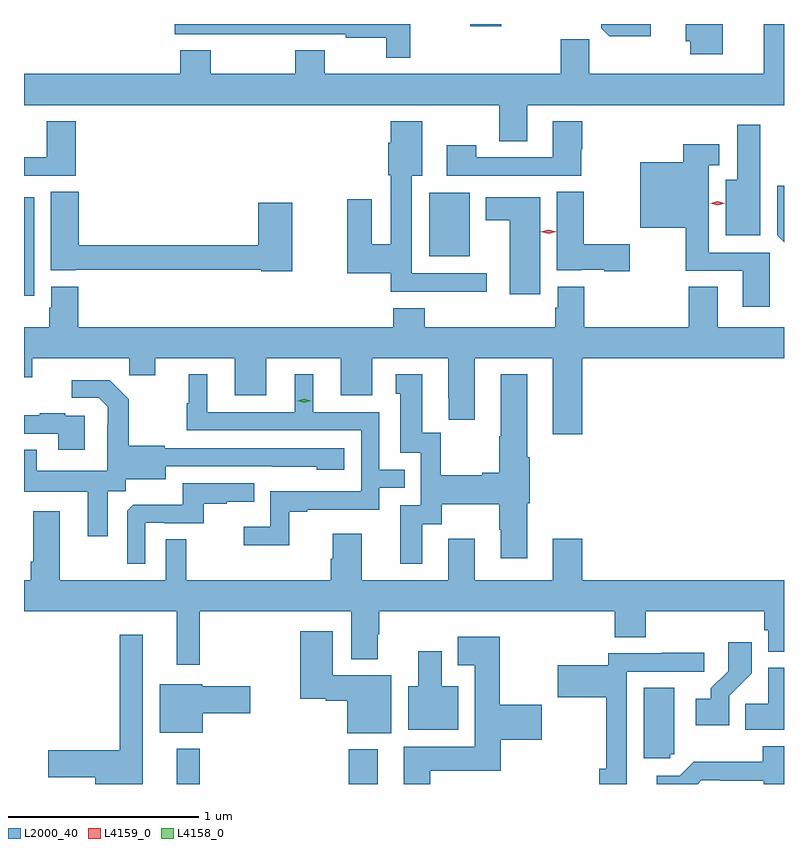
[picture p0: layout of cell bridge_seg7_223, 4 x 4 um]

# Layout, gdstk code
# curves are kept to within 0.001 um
import gdstk
lib = gdstk.Library(unit=1e-6, precision=1e-09)
def R(c, l, rs):  # rectangles x0, y0, x1, y1
    for r in rs: c.add(gdstk.rectangle(r[:2], r[2:], *l))
def P(c, l, *ps):  # polygons
    for p in ps: c.add(gdstk.Polygon(p, *l))
L2000_40 = (2000, 40)
L4158_0 = (4158, 0)
L4159_0 = (4159, 0)

bridge_seg7_223 = lib.new_cell('bridge_seg7_223')
R(bridge_seg7_223, L2000_40, [(349.163,1002.371,349.285,1002.556), (350.069,1002.371,350.221,1002.553), (348.359,1004.94,348.412,1005.46), (350.492,1005.149,350.704,1005.484), (350.707,1006.359,350.872,1006.371)])
P(bridge_seg7_223, L2000_40, [(351.658,1006.371),(351.398,1006.371),(351.398,1006.348),(351.439,1006.307),(351.658,1006.307)],
  [(352.036,1006.371),(351.842,1006.371),(351.842,1006.28),(351.866,1006.28),(351.866,1006.212),(352.036,1006.212)],
  [(351.007,1005.944),(352.359,1005.944),(352.359,1006.371),(352.253,1006.371),(352.253,1006.108),(351.335,1006.108),(351.335,1006.29),(351.185,1006.29),(351.185,1006.108),(349.941,1006.108),(349.941,1006.232),(349.786,1006.232),(349.786,1006.108),(349.341,1006.108),(349.341,1006.232),(349.181,1006.232),(349.181,1006.108),(348.359,1006.108),(348.359,1005.944),(350.86,1005.944),(350.86,1005.754),(351.007,1005.754)],
  [(350.393,1006.371),(349.153,1006.371),(349.153,1006.317),(349.403,1006.317),(349.403,1006.316),(349.635,1006.316),(349.635,1006.317),(350.052,1006.317),(350.052,1006.298),(350.265,1006.298),(350.265,1006.193),(350.393,1006.193)],
  [(351.291,1005.711),(351.296,1005.711),(351.296,1005.859),(351.143,1005.859),(351.143,1005.669),(350.739,1005.669),(350.739,1005.733),(350.583,1005.733),(350.583,1005.573),(351.291,1005.573)],
  [(350.794,1005.06),(350.401,1005.06),(350.401,1005.572),(350.455,1005.572),(350.455,1005.859),(350.288,1005.859),(350.288,1005.746),(350.276,1005.746),(350.276,1005.576),(350.288,1005.576),(350.288,1005.212),(350.188,1005.212),(350.188,1005.448),(350.059,1005.448),(350.059,1005.059),(350.288,1005.059),(350.288,1004.963),(350.794,1004.963)],
  [(348.632,1005.859),(348.479,1005.859),(348.479,1005.669),(348.359,1005.669),(348.359,1005.573),(348.632,1005.573)],
  [(352.234,1005.841),(352.112,1005.841),(352.112,1005.55),(352.052,1005.55),(352.052,1005.26),(352.234,1005.26)],
  [(352.285,1005.168),(351.964,1005.168),(351.964,1005.627),(352.018,1005.627),(352.018,1005.737),(351.83,1005.737),(351.83,1005.643),(351.602,1005.643),(351.602,1005.299),(351.842,1005.299),(351.842,1005.072),(352.142,1005.072),(352.142,1004.883),(352.285,1004.883)],
  [(352.359,1005.52),(352.323,1005.52),(352.323,1005.258),(352.359,1005.222)],
  [(351.547,1005.212),(351.306,1005.212),(351.306,1005.488),(351.164,1005.488),(351.164,1005.074),(351.294,1005.074),(351.294,1005.077),(351.414,1005.077),(351.414,1005.07),(351.547,1005.07)],
  [(349.77,1005.43),(349.592,1005.43),(349.592,1005.206),(348.647,1005.206),(348.647,1005.488),(348.5,1005.488),(348.5,1005.074),(348.63,1005.074),(348.63,1005.078),(349.608,1005.078),(349.608,1005.07),(349.77,1005.07)],
  [(351.076,1005.46),(350.789,1005.46),(350.789,1005.338),(350.915,1005.338),(350.915,1004.948),(351.076,1004.948)],
  [(350.468,1004.875),(350.303,1004.875),(350.303,1004.776),(348.644,1004.776),(348.644,1004.989),(348.503,1004.989),(348.503,1004.877),(348.491,1004.877),(348.491,1004.776),(348.359,1004.776),(348.359,1004.513),(348.403,1004.513),(348.403,1004.612),(348.913,1004.612),(348.913,1004.522),(349.051,1004.522),(349.051,1004.612),(349.469,1004.612),(349.469,1004.418),(349.633,1004.418),(349.633,1004.612),(350.027,1004.612),(350.027,1004.418),(350.191,1004.418),(350.191,1004.612),(350.591,1004.612),(350.591,1004.401),(350.594,1004.401),(350.594,1004.289),(350.731,1004.289),(350.731,1004.612),(351.143,1004.612),(351.143,1004.211),(351.296,1004.211),(351.296,1004.612),(352.359,1004.612),(352.359,1004.776),(352.009,1004.776),(352.009,1004.987),(351.857,1004.987),(351.857,1004.776),(351.308,1004.776),(351.308,1004.989),(351.167,1004.989),(351.167,1004.877),(351.155,1004.877),(351.155,1004.776),(350.468,1004.776)],
  [(349.755,1003.803),(349.849,1003.803),(349.849,1003.815),(350.229,1003.815),(350.229,1003.929),(350.363,1003.929),(350.363,1004.025),(350.229,1004.025),(350.229,1004.328),(349.882,1004.328),(349.882,1004.527),(349.784,1004.527),(349.784,1004.328),(349.324,1004.328),(349.324,1004.527),(349.226,1004.527),(349.226,1004.376),(349.215,1004.376),(349.215,1004.232),(350.133,1004.232),(350.133,1003.911),(349.656,1003.911),(349.656,1003.726),(349.515,1003.726),(349.515,1003.628),(349.755,1003.628)],
  [(350.455,1003.738),(350.557,1003.738),(350.557,1003.844),(350.86,1003.844),(350.86,1003.71),(350.867,1003.71),(350.867,1003.56),(351.007,1003.56),(351.007,1003.848),(351.02,1003.848),(351.02,1004.092),(351.007,1004.092),(351.007,1004.527),(350.867,1004.527),(350.867,1004.201),(350.86,1004.201),(350.86,1004.009),(350.771,1004.009),(350.771,1003.996),(350.553,1003.996),(350.553,1004.219),(350.455,1004.219),(350.455,1004.527),(350.315,1004.527),(350.315,1004.424),(350.339,1004.424),(350.339,1004.115),(350.448,1004.115),(350.448,1003.839),(350.339,1003.839),(350.339,1003.53),(350.455,1003.53)],
  [(348.799,1003.912),(348.894,1003.912),(348.894,1003.976),(349.105,1003.976),(349.105,1004.043),(349.899,1004.042),(349.899,1004.024),(350.044,1004.024),(350.044,1004.139),(349.101,1004.139),(349.101,1004.152),(348.909,1004.152),(348.909,1004.397),(348.809,1004.497),(348.609,1004.497),(348.609,1004.403),(348.753,1004.403),(348.8,1004.356),(348.8,1004.261),(348.798,1004.261),(348.798,1004.02),(348.427,1004.02),(348.427,1004.129),(348.359,1004.129),(348.359,1003.91),(348.695,1003.91),(348.695,1003.674),(348.799,1003.674)],
  [(348.679,1004.31),(348.575,1004.31),(348.575,1004.323),(348.443,1004.323),(348.443,1004.312),(348.359,1004.312),(348.359,1004.214),(348.539,1004.214),(348.539,1004.13),(348.679,1004.13)],
  [(348.996,1003.746),(349.096,1003.746),(349.096,1003.743),(349.304,1003.743),(349.304,1003.845),(349.427,1003.845),(349.427,1003.856),(349.571,1003.856),(349.571,1003.953),(349.194,1003.953),(349.194,1003.841),(348.935,1003.841),(348.903,1003.809),(348.903,1003.529),(348.996,1003.529)],
  [(349.163,1002.999),(349.285,1002.999),(349.285,1003.28),(350.081,1003.28),(350.081,1003.028),(350.221,1003.028),(350.221,1003.16),(350.229,1003.16),(350.229,1003.28),(351.467,1003.28),(351.467,1003.144),(351.632,1003.144),(351.632,1003.28),(352.255,1003.28),(352.255,1003.179),(352.275,1003.179),(352.275,1003.067),(352.359,1003.067),(352.359,1003.444),(351.296,1003.444),(351.296,1003.663),(351.143,1003.663),(351.143,1003.444),(350.731,1003.444),(350.731,1003.663),(350.591,1003.663),(350.591,1003.444),(350.137,1003.444),(350.137,1003.687),(349.985,1003.687),(349.985,1003.557),(349.973,1003.557),(349.973,1003.444),(349.213,1003.444),(349.213,1003.658),(349.104,1003.658),(349.104,1003.444),(348.547,1003.444),(348.547,1003.807),(348.407,1003.807),(348.407,1003.54),(348.395,1003.54),(348.395,1003.444),(348.359,1003.444),(348.359,1003.28),(349.163,1003.28)],
  [(350.293,1002.943),(349.984,1002.943),(349.984,1003.174),(349.814,1003.174),(349.814,1002.821),(349.947,1002.821),(349.947,1002.809),(350.06,1002.809),(350.06,1002.638),(350.293,1002.638)],
  [(348.985,1003.156),(348.864,1003.156),(348.864,1002.548),(348.486,1002.548),(348.486,1002.406),(348.734,1002.406),(348.734,1002.371),(348.985,1002.371)],
  [(350.497,1002.44),(350.867,1002.44),(350.867,1002.605),(351.085,1002.605),(351.085,1002.788),(350.862,1002.788),(350.862,1003.147),(350.642,1003.147),(350.642,1002.995),(350.732,1002.995),(350.732,1002.568),(350.357,1002.568),(350.357,1002.371),(350.497,1002.371)],
  [(352.071,1002.835),(352.19,1002.954),(352.19,1003.117),(352.065,1003.117),(352.065,1002.965),(351.974,1002.875),(351.974,1002.82),(351.894,1002.82),(351.894,1002.68),(352.071,1002.68)],
  [(350.644,1002.886),(350.557,1002.886),(350.557,1003.069),(350.435,1003.069),(350.435,1002.886),(350.381,1002.886),(350.381,1002.656),(350.644,1002.656)],
  [(351.532,1002.438),(351.531,1002.438),(351.531,1002.963),(351.94,1002.963),(351.94,1003.062),(351.715,1003.062),(351.715,1003.059),(351.435,1003.059),(351.435,1002.997),(351.168,1002.997),(351.168,1002.827),(351.423,1002.827),(351.423,1002.45),(351.386,1002.45),(351.386,1002.371),(351.532,1002.371)],
  [(352.359,1002.982),(352.277,1002.982),(352.277,1002.794),(352.156,1002.794),(352.156,1002.656),(352.359,1002.656)],
  [(349.3,1002.743),(349.549,1002.743),(349.549,1002.885),(349.296,1002.885),(349.296,1002.895),(349.073,1002.895),(349.073,1002.641),(349.3,1002.641)],
  [(351.759,1002.528),(351.781,1002.528),(351.781,1002.877),(351.62,1002.877),(351.62,1002.507),(351.759,1002.507)],
  [(351.924,1002.39),(352.024,1002.39),(352.024,1002.387),(352.253,1002.387),(352.253,1002.371),(352.359,1002.371),(352.359,1002.571),(352.246,1002.571),(352.246,1002.487),(351.883,1002.487),(351.81,1002.414),(351.69,1002.414),(351.69,1002.371),(351.905,1002.371)])
P(bridge_seg7_223, L4158_0, [(349.833,1004.378),(349.797,1004.387),(349.797,1004.388),(349.797,1004.388),(349.833,1004.398),(349.869,1004.388),(349.869,1004.388),(349.869,1004.387)])
P(bridge_seg7_223, L4159_0, [(352.009,1005.417),(351.971,1005.427),(351.971,1005.427),(351.971,1005.427),(352.009,1005.437),(352.047,1005.427),(352.047,1005.427),(352.047,1005.427)],
  [(351.12,1005.268),(351.08,1005.277),(351.08,1005.278),(351.08,1005.278),(351.12,1005.288),(351.16,1005.278),(351.16,1005.278),(351.16,1005.278)])

lib.write_gds('bridge_seg7_223.gds')
